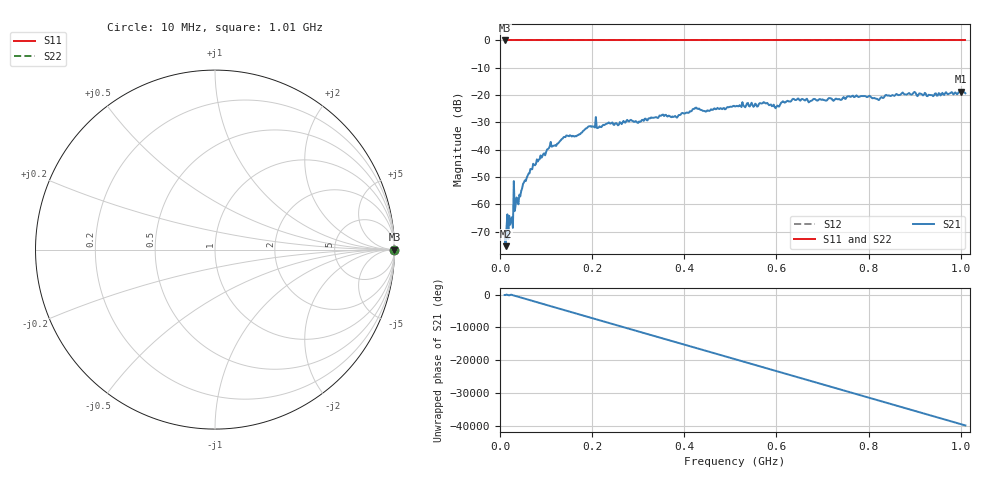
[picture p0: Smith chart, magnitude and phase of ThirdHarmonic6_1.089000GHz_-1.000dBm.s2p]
! 8/16/2025 10:06:27 AM
! C:\ANRITSUVNA\TEMP\TEMP.S2P
! CHANNEL.1
! TR.MEASUREMENT
! RAW.DATA
! RF.CORRECTION.OFF
! AVERAGING.OFF
! IF.BANDWIDTH: 5KHZ
! SWEEPTYPE:  FREQ.SWEEP(Linear)
! Reference Plane Port Info
! PORT:  PORT1  PORT2
! DISTANCE:  0  m  0  m
! TIME:  0  s  0  s
! PHASE.OFFSET:  0  deg.  0  deg.
! LOSS:  0  dB  0  dB
! REF.LOSS:  0  dB  0  dB
! REF.FREQ:  0  Hz  0  Hz
! Power Info
! POWER:  -20  dBm  -20  dBm
! EFF.POWER:  -20  dBm  -20  dBm
! SOURCE.ATTEN:  0  dB  0  dB
! TEST.ATTEN:  0  dB  0  dB
# GHZ S RI R 50.0
! FREQ.GHZ  S11RE  S11IM  S21RE  S21IM  S12RE  S12IM  S22RE  S22IM
!; PortSelection: Port_12
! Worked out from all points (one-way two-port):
!   501 points, 10 MHz to 1.01 GHz, reference 50 ohm
!   highest |S21| = -18.80 dB at 1 GHz (marker M1); lowest = -75.3 dB at 12 MHz (marker M2)
!   lowest |S11| = 0.0 dB at 10 MHz (marker M3)
!   |S11| at or under -10 dB: nowhere
!   |S22| runs from 0.0 to 0.0 dB; largest |S21 - S12| = 1.1
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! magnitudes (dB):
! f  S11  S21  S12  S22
! 10 MHz  0.0  -70.7  0.0  0.0
! 12 MHz  0.0  -75.3  0.0  0.0
! 24 MHz  0.0  -65.7  0.0  0.0
! 34 MHz  0.0  -60.3  0.0  0.0
! 36 MHz  0.0  -57.5  0.0  0.0
! 54 MHz  0.0  -51.2  0.0  0.0
! 76 MHz  0.0  -45.7  0.0  0.0
! 106 MHz  0.0  -39.4  0.0  0.0
! 178 MHz  0.0  -33.7  0.0  0.0
! 204 MHz  0.0  -31.6  0.0  0.0
! 344 MHz  0.0  -28.2  0.0  0.0
! 382 MHz  0.0  -27.9  0.0  0.0
! 422 MHz  0.0  -25.0  0.0  0.0
! 450 MHz  0.0  -25.6  0.0  0.0
! 510 MHz  0.0  -24.2  0.0  0.0
! 576 MHz  0.0  -23.0  0.0  0.0
! 600 MHz  0.0  -24.2  0.0  0.0
! 638 MHz  0.0  -21.5  0.0  0.0
! 678 MHz  0.0  -21.8  0.0  0.0
! 844 MHz  0.0  -20.1  0.0  0.0
! 1 GHz  0.0  -18.8  0.0  0.0
! 1.01 GHz  0.0  -19.3  0.0  0.0
